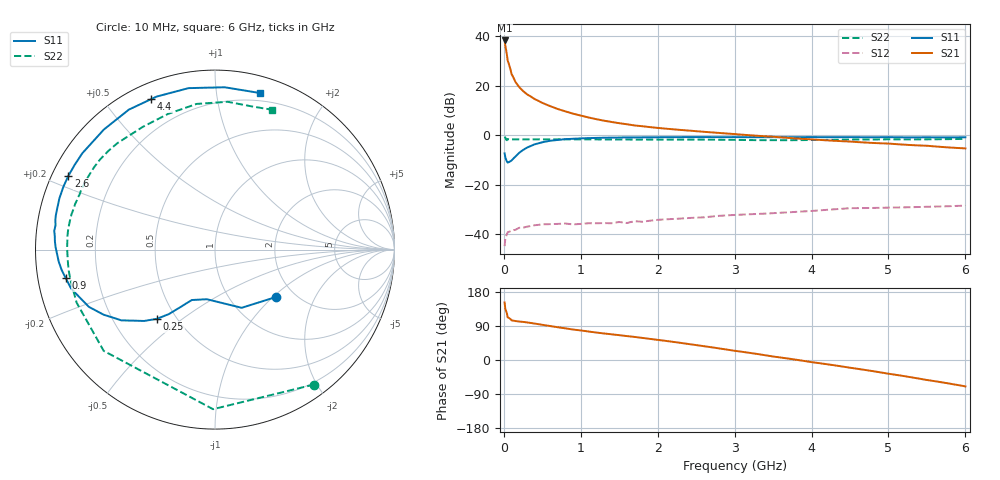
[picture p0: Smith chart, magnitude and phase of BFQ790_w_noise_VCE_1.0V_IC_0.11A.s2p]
! (c) 2015  Infineon Technologies AG, Munich
! Infineon Technologies  Discrete & RF Semiconductors
! BFQ790
! VCE =  1.0 V,  IC = 0.11 A
! Common Emitter S-Parameters:  May 2015
# GHz  S  MA  R  50
!  f  S11  S21  S12  S22
! GHz  MAG  ANG  MAG  ANG  MAG  ANG  MAG  ANG
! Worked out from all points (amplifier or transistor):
!   77 points, 10 MHz to 6 GHz, reference 50 ohm
!   highest |S21| = 38.2 dB at 10 MHz (marker M1)
!   |S21| within 3 dB of that: start of sweep to 24.61 MHz
!   unconditionally stable (mu >= 1): 317.6 MHz to 431.2 MHz; 682.5 MHz to 711.4 MHz; 863.2 MHz to end of sweep
!   at 130 MHz: K = 0.71, MSG = 30.6 dB, |S12| = -38.3 dB
!   at 2.2 GHz: K = 1.22, MAG = 15.3 dB, |S12| = -33.8 dB
!   at 6 GHz: K = 1.27, MAG = 8.4 dB, |S12| = -28.4 dB
!   lowest NFmin = 2.66 dB at 1.5 GHz
!   S11 on the Smith chart (normalised r, x): 10 MHz: 1.60, -1.04; 250 MHz: 0.39, -0.41; 900 MHz: 0.08, -0.09; 2.6 GHz: 0.05, +0.24; 4.4 GHz: 0.07, +0.66; 6 GHz: 0.13, +1.32
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0.01  0.4292 -38.1  81 152.0  0.0058 59.7  0.9327 -53.7
0.02  0.3566 -65.4  62.59 133.1  0.0085 42.1  0.8892 -90.7
0.05  0.2802 -99.3  31.77 112.4  0.0111 22.9  0.8384 -137.7
0.1  0.3092 -114.7  17.05 104.7  0.0118 15.0  0.8256 -159.0
0.15  0.3701 -120.7  11.87 102.8  0.0124 15.8  0.8226 -167.2
0.2  0.442 -125.6  9.301 101.5  0.0136 18.4  0.8234 -171.7
0.25  0.5033 -130.0  7.751 100.5  0.0137 16.3  0.8226 -174.6
0.3  0.5604 -134.8  6.681 99.2  0.0143 11.3  0.8223 -176.9
0.4  0.6538 -142.9  5.352 96.1  0.0153 13.7  0.8241 179.5
0.5  0.7189 -149.7  4.471 92.9  0.016 8.7  0.824 176.9
0.6  0.7718 -155.6  3.858 89.7  0.0161 10.1  0.8256 174.7
0.7  0.8014 -160.8  3.371 86.5  0.0163 10.5  0.8256 172.7
0.9  0.8466 -169.1  2.71 80.4  0.0159 6.4  0.8243 169.3
1.1  0.8733 -175.6  2.275 75.2  0.0168 6.1  0.8232 166.1
1.5  0.896 175.1  1.742 65.5  0.0178 5.9  0.8172 160.5
2.1  0.9099 163.8  1.355 50.6  0.0201 6.1  0.8147 151.6
2.6  0.9146 153.3  1.17 36.5  0.0221 4.1  0.8137 141.8
3.1  0.9104 141.8  1.023 21.6  0.0251 -3.8  0.7997 130.2
4.1  0.9125 119.5  0.804 -8.3  0.0305 -18.0  0.8008 106.7
4.4  0.9106 113.0  0.756 -17.2  0.0329 -23.1  0.8117 99.5
5.1  0.9069 96.8  0.66 -39.2  0.0349 -38.0  0.824 83.1
6  0.9079 73.8  0.542 -69.7  0.0381 -57.4  0.8413 67.9
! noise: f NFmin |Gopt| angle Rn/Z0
0.45  4.14  0.4  133  0.41
0.9  2.96  0.54  164  0.14
1.5  2.66  0.66  -175  0.07
1.8  2.77  0.68  -169  0.08
2.6  3.18  0.72  -153  0.2
3.5  3.77  0.83  -136  0.49
